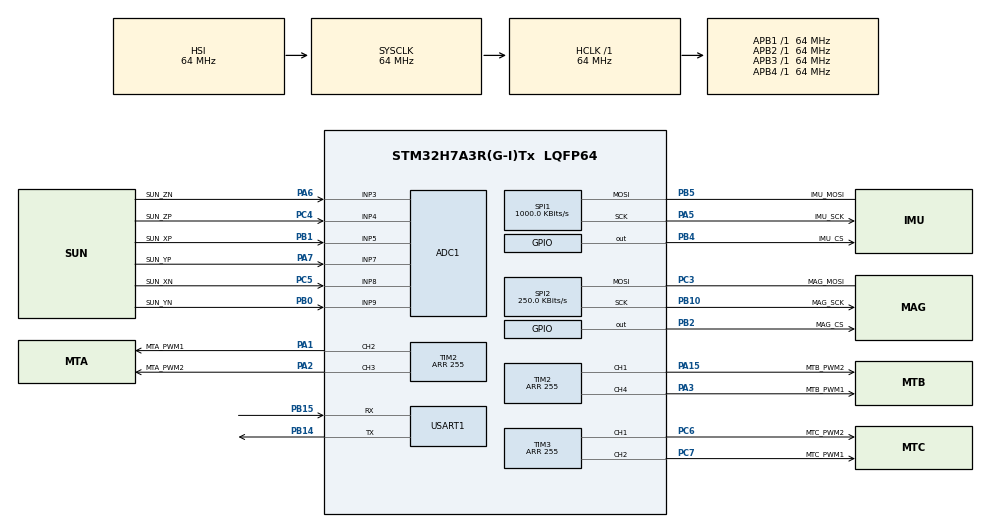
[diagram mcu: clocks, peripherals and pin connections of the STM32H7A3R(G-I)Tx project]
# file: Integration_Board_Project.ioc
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ADC1.Channel-2\#ChannelRegularConversion=ADC_CHANNEL_3
ADC1.Channel-3\#ChannelRegularConversion=ADC_CHANNEL_4
ADC1.Channel-4\#ChannelRegularConversion=ADC_CHANNEL_5
ADC1.Channel-5\#ChannelRegularConversion=ADC_CHANNEL_7
ADC1.Channel-6\#ChannelRegularConversion=ADC_CHANNEL_8
ADC1.Channel-7\#ChannelRegularConversion=ADC_CHANNEL_9
ADC1.ClockPrescaler=ADC_CLOCK_ASYNC_DIV1
ADC1.ContinuousConvMode=ENABLE
ADC1.ConversionDataManagement=ADC_CONVERSIONDATA_DMA_ONESHOT
ADC1.EOCSelection=ADC_EOC_SINGLE_CONV
ADC1.EnableRegularConversion=ENABLE
ADC1.NbrOfConversion=6
ADC1.NbrOfConversionFlag=1
ADC1.OffsetNumber-2\#ChannelRegularConversion=ADC_OFFSET_NONE
ADC1.OffsetNumber-3\#ChannelRegularConversion=ADC_OFFSET_NONE
ADC1.OffsetNumber-4\#ChannelRegularConversion=ADC_OFFSET_NONE
ADC1.OffsetNumber-5\#ChannelRegularConversion=ADC_OFFSET_NONE
ADC1.OffsetNumber-6\#ChannelRegularConversion=ADC_OFFSET_NONE
ADC1.OffsetNumber-7\#ChannelRegularConversion=ADC_OFFSET_NONE
ADC1.OffsetSignedSaturation-2\#ChannelRegularConversion=DISABLE
ADC1.OffsetSignedSaturation-3\#ChannelRegularConversion=DISABLE
ADC1.OffsetSignedSaturation-4\#ChannelRegularConversion=DISABLE
ADC1.OffsetSignedSaturation-5\#ChannelRegularConversion=DISABLE
ADC1.OffsetSignedSaturation-6\#ChannelRegularConversion=DISABLE
ADC1.OffsetSignedSaturation-7\#ChannelRegularConversion=DISABLE
ADC1.Rank-2\#ChannelRegularConversion=1
ADC1.Rank-3\#ChannelRegularConversion=2
ADC1.Rank-4\#ChannelRegularConversion=3
ADC1.Rank-5\#ChannelRegularConversion=4
ADC1.Rank-6\#ChannelRegularConversion=5
ADC1.Rank-7\#ChannelRegularConversion=6
ADC1.SamplingTime-2\#ChannelRegularConversion=ADC_SAMPLETIME_1CYCLE_5
ADC1.SamplingTime-3\#ChannelRegularConversion=ADC_SAMPLETIME_1CYCLE_5
ADC1.SamplingTime-4\#ChannelRegularConversion=ADC_SAMPLETIME_1CYCLE_5
ADC1.SamplingTime-5\#ChannelRegularConversion=ADC_SAMPLETIME_1CYCLE_5
ADC1.SamplingTime-6\#ChannelRegularConversion=ADC_SAMPLETIME_1CYCLE_5
ADC1.SamplingTime-7\#ChannelRegularConversion=ADC_SAMPLETIME_1CYCLE_5
ADC1.master=1
CORTEX_M7.default_mode_Activation=1
Dma.ADC1.0.Direction=DMA_PERIPH_TO_MEMORY
Dma.ADC1.0.EventEnable=DISABLE
Dma.ADC1.0.FIFOMode=DMA_FIFOMODE_DISABLE
Dma.ADC1.0.Instance=DMA1_Stream0
Dma.ADC1.0.MemDataAlignment=DMA_MDATAALIGN_HALFWORD
Dma.ADC1.0.MemInc=DMA_MINC_ENABLE
Dma.ADC1.0.Mode=DMA_CIRCULAR
Dma.ADC1.0.PeriphDataAlignment=DMA_PDATAALIGN_HALFWORD
Dma.ADC1.0.PeriphInc=DMA_PINC_DISABLE
Dma.ADC1.0.Polarity=HAL_DMAMUX_REQ_GEN_RISING
Dma.ADC1.0.Priority=DMA_PRIORITY_LOW
Dma.ADC1.0.RequestNumber=1
Dma.ADC1.0.SignalID=NONE
Dma.ADC1.0.SyncEnable=DISABLE
Dma.ADC1.0.SyncPolarity=HAL_DMAMUX_SYNC_NO_EVENT
Dma.ADC1.0.SyncRequestNumber=1
Dma.ADC1.0.SyncSignalID=NONE
Dma.Request0=ADC1
Mcu.Family=STM32H7
Mcu.Name=STM32H7A3R(G-I)Tx
Mcu.Package=LQFP64
NVIC.ADC_IRQn=true\:1\:0\:true\:false\:true\:true\:true\:true
NVIC.DMA1_Stream0_IRQn=true\:0\:0\:false\:false\:true\:false\:true\:true
NVIC.PriorityGroup=NVIC_PRIORITYGROUP_4
PA1.GPIO_Label=MTA_PWM1
PA1.Signal=S_TIM2_CH2
PA15.GPIO_Label=MTB_PWM2
PA15.Signal=S_TIM2_CH1_ETR
PA2.GPIO_Label=MTA_PWM2
PA2.Signal=S_TIM2_CH3
PA3.GPIO_Label=MTB_PWM1
PA3.Signal=S_TIM2_CH4
PA5.GPIO_Label=IMU_SCK
PA5.Mode=Simplex_Bidirectional_Master
PA5.Signal=SPI1_SCK
PA6.GPIO_Label=SUN_ZN
PA6.Signal=ADCx_INP3
PA7.GPIO_Label=SUN_YP
PA7.Signal=ADCx_INP7
PB0.GPIO_Label=SUN_YN
PB0.Signal=ADCx_INP9
PB1.GPIO_Label=SUN_XP
PB1.Signal=ADCx_INP5
PB10.GPIO_Label=MAG_SCK
PB10.Mode=Simplex_Bidirectional_Master
PB10.Signal=SPI2_SCK
PB14.Mode=Asynchronous
PB14.Signal=USART1_TX
PB15.Mode=Asynchronous
PB15.Signal=USART1_RX
PB2.GPIO_Label=MAG_CS
PB2.Signal=GPIO_Output
PB4.GPIO_Label=IMU_CS
PB4.PinState=GPIO_PIN_SET
PB4.Signal=GPIO_Output
PB5.GPIO_Label=IMU_MOSI
PB5.Mode=Simplex_Bidirectional_Master
PB5.Signal=SPI1_MOSI
PC3.GPIO_Label=MAG_MOSI
PC3.Mode=Simplex_Bidirectional_Master
PC3.Signal=SPI2_MOSI
PC4.GPIO_Label=SUN_ZP
PC4.Signal=ADCx_INP4
PC5.GPIO_Label=SUN_XN
PC5.Signal=ADCx_INP8
PC6.GPIO_Label=MTC_PWM2
PC6.Signal=S_TIM3_CH1
PC7.GPIO_Label=MTC_PWM1
PC7.Signal=S_TIM3_CH2
ProjectManager.HeapSize=0x200
ProjectManager.StackSize=0x400
ProjectManager.TargetToolchain=STM32CubeIDE
RCC.ADCFreq_Value=42666666.666666664
RCC.APB1Freq_Value=64000000
RCC.APB2Freq_Value=64000000
RCC.APB3Freq_Value=64000000
RCC.APB4Freq_Value=64000000
RCC.CortexFreq_Value=64000000
RCC.DIVM1=4
RCC.DIVM2=4
RCC.DIVN1=8
RCC.DIVN2=8
RCC.DIVP2=3
RCC.HCLKFreq_Value=64000000
RCC.PLL2FRACN=0
RCC.PLLFRACN=0
RCC.SYSCLKFreq_VALUE=64000000
RCC.USBFreq_Value=64000000
SH.ADCx_INP3.0=ADC1_INP3,IN3-Single-Ended
SH.ADCx_INP4.0=ADC1_INP4,IN4-Single-Ended
SH.ADCx_INP5.0=ADC1_INP5,IN5-Single-Ended
SH.ADCx_INP7.0=ADC1_INP7,IN7-Single-Ended
SH.ADCx_INP8.0=ADC1_INP8,IN8-Single-Ended
SH.ADCx_INP9.0=ADC1_INP9,IN9-Single-Ended
SH.S_TIM2_CH1_ETR.0=TIM2_CH1,PWM Generation1 CH1
SH.S_TIM2_CH2.0=TIM2_CH2,PWM Generation2 CH2
SH.S_TIM2_CH3.0=TIM2_CH3,PWM Generation3 CH3
SH.S_TIM2_CH4.0=TIM2_CH4,PWM Generation4 CH4
SH.S_TIM3_CH1.0=TIM3_CH1,PWM Generation1 CH1
SH.S_TIM3_CH2.0=TIM3_CH2,PWM Generation2 CH2
SPI1.BaudRatePrescaler=SPI_BAUDRATEPRESCALER_64
SPI1.CLKPhase=SPI_PHASE_1EDGE
SPI1.CLKPolarity=SPI_POLARITY_LOW
SPI1.CalculateBaudRate=1000.0 KBits/s
SPI1.DataSize=SPI_DATASIZE_8BIT
SPI1.Direction=SPI_DIRECTION_1LINE
SPI1.Mode=SPI_MODE_MASTER
SPI1.NSSPMode=SPI_NSS_PULSE_DISABLE
SPI1.VirtualType=VM_MASTER
SPI2.BaudRatePrescaler=SPI_BAUDRATEPRESCALER_256
SPI2.CalculateBaudRate=250.0 KBits/s
SPI2.DataSize=SPI_DATASIZE_8BIT
SPI2.Direction=SPI_DIRECTION_1LINE
SPI2.Mode=SPI_MODE_MASTER
SPI2.NSSPMode=SPI_NSS_PULSE_DISABLE
SPI2.VirtualType=VM_MASTER
TIM2.AutoReloadPreload=TIM_AUTORELOAD_PRELOAD_ENABLE
TIM2.Channel-PWM\ Generation1\ CH1=TIM_CHANNEL_1
TIM2.Channel-PWM\ Generation2\ CH2=TIM_CHANNEL_2
TIM2.Channel-PWM\ Generation3\ CH3=TIM_CHANNEL_3
TIM2.Channel-PWM\ Generation4\ CH4=TIM_CHANNEL_4
TIM2.Period=255
TIM3.AutoReloadPreload=TIM_AUTORELOAD_PRELOAD_ENABLE
TIM3.Channel-PWM\ Generation1\ CH1=TIM_CHANNEL_1
TIM3.Channel-PWM\ Generation2\ CH2=TIM_CHANNEL_2
TIM3.Period=255
USART1.VirtualMode-Asynchronous=VM_ASYNC
VP_MEMORYMAP_VS_MEMORYMAP.Mode=CurAppReg
VP_TIM2_VS_ClockSourceINT.Mode=Internal
board=custom

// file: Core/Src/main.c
/* USER CODE BEGIN Header */
/**
  ******************************************************************************
  * @file           : main.c
  * @brief          : Main program body
  ******************************************************************************
  * @attention
  *
  * Copyright (c) 2026 STMicroelectronics.
  * All rights reserved.
  *
  * This software is licensed under terms that can be found in the LICENSE file
  * in the root directory of this software component.
  * If no LICENSE file comes with this software, it is provided AS-IS.
  *
  ******************************************************************************
  */
/* USER CODE END Header */
#include "main.h"

/* USER CODE BEGIN Includes */
#include "lsm6dso_reg.h"
#include "iis2mdc_reg.h"
#include "sensor_filtering_algs.h" //temporary, just for testing
#include <stdio.h>
#include <string.h>
#include <math.h>
/* USER CODE END Includes */

ADC_HandleTypeDef hadc1;
DMA_HandleTypeDef hdma_adc1;

SPI_HandleTypeDef hspi1;
SPI_HandleTypeDef hspi2;

TIM_HandleTypeDef htim2;
TIM_HandleTypeDef htim3;

UART_HandleTypeDef huart1;

void SystemClock_Config(void);
static void MPU_Config(void);
static void MX_GPIO_Init(void);
static void MX_DMA_Init(void);
static void MX_SPI1_Init(void);
static void MX_USART1_UART_Init(void);
static void MX_SPI2_Init(void);
static void MX_TIM2_Init(void);
static void MX_TIM3_Init(void);
static void MX_ADC1_Init(void);

/* USER CODE BEGIN 0 */

stmdev_ctx_t lsm6dso_ctx;
stmdev_ctx_t iis2mdc_ctx;

/* COMMUNICATION FUNCTIONS */
/* Functions should not handle failed write operation itself (i.e. loop until success), this should be responsibility of calling function */
/* All possible return values of functions correspond to COMMUNICATION_... macros defined in main.h */

// LSM6DSO SPI1, CS = PB4
int32_t lsm6dso_write(void *handle, uint8_t reg,
                      const uint8_t *bufp, uint16_t len)
{
    reg &= 0x7F;
    HAL_GPIO_WritePin(GPIOB, GPIO_PIN_4, GPIO_PIN_RESET); // CS Low

    /* write register address to peripheral */
    int32_t write_status = HAL_SPI_Transmit(&hspi1, &reg, 1, 100);

    /* only attempt to write data to peripheral if register write was successful */
    if (write_status == COMMUNICATION_SUCCESS) {
        write_status = HAL_SPI_Transmit(&hspi1, (uint8_t*)bufp, len, 100);
    }

    HAL_GPIO_WritePin(GPIOB, GPIO_PIN_4, GPIO_PIN_SET); // CS High
    return write_status;

}

int32_t lsm6dso_read(void *handle, uint8_t reg,
                     uint8_t *bufp, uint16_t len)
{
	  reg |= 0x80;
	  HAL_GPIO_WritePin(GPIOB, GPIO_PIN_4, GPIO_PIN_RESET); //CS Low

    /* write register address to peripheral */
	  int32_t comm_status = HAL_SPI_Transmit(&hspi1, &reg, 1, 1000);

    /* only attempt to read data from peripheral if register write was successful */
    if (comm_status == COMMUNICATION_SUCCESS) {
        comm_status = HAL_SPI_Receive(&hspi1, bufp, len, 1000);
    }

	  HAL_GPIO_WritePin(GPIOB, GPIO_PIN_4, GPIO_PIN_SET);
    return comm_status;
}

// IIS2MDC SPI2, CS = PB2
int32_t mag_platform_write(void *handle, uint8_t reg,
                           const uint8_t *bufp, uint16_t len)
{
    reg &= 0x7F;
    HAL_GPIO_WritePin(GPIOB, GPIO_PIN_2, GPIO_PIN_RESET);

    /* write the register address to peripheral device */
    int32_t write_status = HAL_SPI_Transmit(&hspi2, &reg, 1, HAL_MAX_DELAY);

    /* only attempt to write data to peripheral if register write was successful */
    if (write_status == COMMUNICATION_SUCCESS) {
        write_status = HAL_SPI_Transmit(&hspi2, (uint8_t *)bufp, len, HAL_MAX_DELAY);
    }

    HAL_GPIO_WritePin(GPIOB, GPIO_PIN_2, GPIO_PIN_SET);
    return write_status;
}

int32_t mag_platform_read(void *handle, uint8_t reg,
                          uint8_t *bufp, uint16_t len)
{
    reg |= 0x80;
    HAL_GPIO_WritePin(GPIOB, GPIO_PIN_2, GPIO_PIN_RESET);

    /* write address of register to peripheral device */
    int32_t comm_status = HAL_SPI_Transmit(&hspi2, &reg, 1, HAL_MAX_DELAY);

    /* only attempt to read data from peripheral device if register write to device was successful */
    if (comm_status == COMMUNICATION_SUCCESS) {
        comm_status = HAL_SPI_Receive(&hspi2, bufp, len, HAL_MAX_DELAY);
    }

    HAL_GPIO_WritePin(GPIOB, GPIO_PIN_2, GPIO_PIN_SET);
    return comm_status;
}

/* Conversion helper */
float raw_accel_to_mss(int16_t raw)
{
    return (float)raw * 0.00059f; //conversion found in data sheet says 0.00061 but it overshoots...
}

float raw_gyro_to_degreespersecond(int16_t raw){
	return raw * 0.00875f; //value from data sheet -- angular rate sensitivity type
}

// interrupt handler to ensure smooth ADC readings
uint16_t sun[6];
int ADC_Finished = 0;
void HAL_ADC_ConvCpltCallback(ADC_HandleTypeDef *hadc)
{
	ADC_Finished = 1;
}

//initiate variables for sun sensors
int maxIntensity[6]; // Maximum sensor values
int minIntensity[6]; // Minimum sensor values
void resetCalibration() {
    for (int i = 0; i < 6; i++) {
        maxIntensity[i] = 0;
        minIntensity[i] = 65535; // 12-bit ADC range
    }
    char SUN_Calibration[] = "Calibration Of ADC Sun Sensors";
    HAL_UART_Transmit(&huart1, (uint8_t*) SUN_Calibration, strlen(SUN_Calibration) ,100);
}

/* USER CODE END 0 */

int main(void)
{

  /* MPU Configuration--------------------------------------------------------*/
  MPU_Config();

  /* MCU Configuration--------------------------------------------------------*/

  /* Reset of all peripherals, Initializes the Flash interface and the Systick. */
  HAL_Init();

  /* Configure the system clock */
  SystemClock_Config();

  /* Initialize all configured peripherals */
  MX_GPIO_Init();
  MX_DMA_Init();
  MX_SPI1_Init();
  MX_USART1_UART_Init();
  MX_SPI2_Init();
  MX_TIM2_Init();
  MX_TIM3_Init();
  MX_ADC1_Init();
  /* USER CODE BEGIN 2 */
  // LSM6DSO initialize
  lsm6dso_ctx.write_reg = lsm6dso_write;
  lsm6dso_ctx.read_reg  = lsm6dso_read;
  lsm6dso_ctx.handle    = &hspi1;

  // IIS2MDC initialize
  iis2mdc_ctx.write_reg = mag_platform_write;
  iis2mdc_ctx.read_reg  = mag_platform_read;
  iis2mdc_ctx.handle    = &hspi2;

  /* -------- LSM6DSO INIT -------- */

  lsm6dso_spi_mode_set(&lsm6dso_ctx,LSM6DSO_SPI_3_WIRE); //using the stm32 lsm6dso library and should use this to work with 3 wire mode
  lsm6dso_auto_increment_set(&lsm6dso_ctx, 1);
  lsm6dso_xl_data_rate_set(&lsm6dso_ctx, LSM6DSO_XL_ODR_833Hz );
  lsm6dso_block_data_update_set(&lsm6dso_ctx, 1);
  lsm6dso_gy_full_scale_set(&lsm6dso_ctx, LSM6DSO_250dps);
  lsm6dso_gy_data_rate_set(&lsm6dso_ctx, LSM6DSO_GY_ODR_833Hz);

  /* -----iis2mdc INIT ----- */
  iis2mdc_data_rate_set(&iis2mdc_ctx, IIS2MDC_ODR_100Hz);
  iis2mdc_block_data_update_set(&iis2mdc_ctx, 1);

  //WHOAMI
  uint8_t VALUE = 0;
  lsm6dso_read(NULL, 0x0F, &VALUE, 1);

  //testing to check if i can comm with the imu
  char string[32];
  sprintf(string, "LSM6DOWHO_AM_I = 0x%02X \r\n", VALUE);
  HAL_UART_Transmit(&huart1, (uint8_t *)string, strlen(string), HAL_MAX_DELAY);

  uint8_t whoami = 0;
  iis2mdc_device_id_get(&iis2mdc_ctx, &whoami);

  char msg[32];
  sprintf(msg, "IIS2MDC WHO_AM_I = 0x%02X\r\n", whoami);
  HAL_UART_Transmit(&huart1, (uint8_t*)msg, strlen(msg), HAL_MAX_DELAY);

  /* Variables */
  int16_t raw_accel[3];
  float accel_mss[3];
  char accel_data[64];

  int16_t raw_gyro[3];
 // volatile char gyro_data[64]; // used for printing the raw gyro data - redundant
  float gyro_intermediate[3];
  float G_X_roll= 0.0f;
  float G_Y_pitch = 0.0f;
  float G_Z_yaw= 0.0f;
  char Gyro_accum[64];
  char OFFSET[64];

  int16_t raw_mag[3];
  char mag_data[64];

  float dt = 0.0f;

  /* testing Sun sensors */

  HAL_ADC_Start_DMA(&hadc1, (uint32_t*)sun, 6);
  int16_t Z_Minus;
  int16_t Z_Plus;
  int16_t X_Plus;
  int16_t Y_Plus;
  int16_t X_Minus;
  int16_t Y_Minus;

  char SUN_DATA[100];

// testing the pwm channels are working for all the magnetometers
	HAL_TIM_PWM_Start(&htim2, TIM_CHANNEL_1);
	__HAL_TIM_SET_COMPARE(&htim2, TIM_CHANNEL_1, 0); // ~50% of 255
	HAL_TIM_PWM_Start(&htim2, TIM_CHANNEL_4);
	__HAL_TIM_SET_COMPARE(&htim2, TIM_CHANNEL_4, 123); // ~50% of 255
	HAL_TIM_PWM_Start(&htim2, TIM_CHANNEL_2);
	__HAL_TIM_SET_COMPARE(&htim2, TIM_CHANNEL_2, 123);
	HAL_TIM_PWM_Start(&htim2, TIM_CHANNEL_3);
	__HAL_TIM_SET_COMPARE(&htim2, TIM_CHANNEL_3, 123);
	HAL_TIM_PWM_Start(&htim3, TIM_CHANNEL_1);
	__HAL_TIM_SET_COMPARE(&htim3, TIM_CHANNEL_1, 123);
	HAL_TIM_PWM_Start(&htim3, TIM_CHANNEL_2);
	__HAL_TIM_SET_COMPARE(&htim3, TIM_CHANNEL_2, 123);

  //gyro bias reduction
	/*
  lsm6dso_angular_rate_raw_get(&lsm6dso_ctx, raw_gyro);
  gyro_intermediate[0]= raw_gyro_to_degreespersecond(raw_gyro[0]);
  gyro_intermediate[1]= -raw_gyro_to_degreespersecond(raw_gyro[1]);
  gyro_intermediate[2]= raw_gyro_to_degreespersecond(raw_gyro[2]);
  float sumx = 0.0f, sumy = 0.0f, sumz = 0.0f;
  char waiting[] = "Calibrating offset values";
  HAL_UART_Transmit(&huart1, (uint8_t*) waiting, strlen(waiting) ,100);
  int n = 1; //number of calibration trials
  for (int i = 0; i < n; i++){
  	sumx += gyro_intermediate[0];
  	sumy += gyro_intermediate[1];
  	sumz += gyro_intermediate[2];
  	HAL_Delay (3);
  }
  */

//  float offset_x = sumx/(n-1);
//  float offset_y = sumy/(n-1);
//  float offset_z = sumz/(n-1);
//	sprintf(OFFSET, "OFFSET X=%.5f Y=%.5f Z=%.5f \r\n",offset_x, offset_y, offset_z);
//	HAL_UART_Transmit(&huart1, (uint8_t *)OFFSET, strlen(OFFSET), HAL_MAX_DELAY);
//	HAL_Delay(2000);

  //init sensor filter algs by calculating process noise for each sensor
  //calculate_sensor_process_noise();

  uint32_t last_tick = HAL_GetTick();
  /* USER CODE END 2 */

  /* Infinite loop */
  while (1)
  {

    /* USER CODE BEGIN 3 */
	  HAL_Delay(500);

	  //code to display raw data from sensors in the form of 2^16- 1
//	  if (ADC_Finished == 1){
//		  ADC_Finished = 0;
//		  for(uint8_t i = 0; i<hadc1.Init.NbrOfConversion; i++){
//			  Z_Minus= sun[0];
//			  Z_Plus = sun[1];
//			  X_Plus = sun[2];
//			  Y_Plus = sun[3];
//			  X_Minus = sun[4];
//			  Y_Minus = sun[5];
//		  }
//		  sprintf(SUN_DATA, "-Z = %u , +Z = %u, -X = %u, +X = %u, -Y = %u, +Y = %u \r\n", Z_Minus, Z_Plus, X_Minus, X_Plus, Y_Minus, Y_Plus);
//		  HAL_UART_Transmit(&huart1, (uint8_t*)SUN_DATA, strlen(SUN_DATA), HAL_MAX_DELAY);
//		  HAL_ADC_Start_DMA(&hadc1, (uint32_t*)sun, 6);
//	  }

//	  uint16_t SUN_Zp = sun[0]; //this block can be deleted
//	  uint16_t SUN_Xm = sun[1];
//	  sprintf(sun_outputs, "Z Positive: %u, X Negative: %u \r\n ", SUN_Zp, SUN_Xm);
//	  HAL_UART_Transmit(&huart1,(uint8_t*)sun_outputs, strlen(sun_outputs), HAL_MAX_DELAY);
//	  HAL_Delay(500);

//	  HAL_ADC_Start(&hadc1); //this block can be deleted
//	  HAL_ADC_PollForConversion(&hadc1, 100);
//	  sun_Zp = HAL_ADC_GetValue(&hadc1);
//	  sprintf(sun_output, "Sun: %u \r\n ", sun_Zp);
//	  HAL_UART_Transmit(&huart1, (uint8_t*)sun_output, strlen(sun_output), HAL_MAX_DELAY);
//	  HAL_Delay(500);

//  	//getting dt from integrating gyro
//  	uint32_t now = HAL_GetTick();
//  	float dt = (now - last_tick	) / 1000.0f;
//  	last_tick = now;
//
	  	//accelerometer
	  	lsm6dso_acceleration_raw_get(&lsm6dso_ctx, raw_accel);
	  	char rawAccel[100];
	  	char filterAccel[100];
	  	sprintf(rawAccel, "RawAccel: x: %i y: %i z: %i.", raw_accel[0], raw_accel[1], raw_accel[2]);
	  	filter_sensor_data(raw_accel, ACCELEROMETER);
	  	sprintf(filterAccel, "\tFilteredAccel: x: %i y: %i z: %i.\r\n", raw_accel[0], raw_accel[1], raw_accel[2]);

	  	HAL_UART_Transmit(&huart1, (int8_t*) rawAccel, strlen(rawAccel), 100);
	  	HAL_UART_Transmit(&huart1, (int8_t*) filterAccel, strlen(filterAccel), 100);

	  	//print raw values for accelerometer
	  	//snprintf(accel_data, sizeof(accel_data), "RawAccel: x: %i\ty: %i\tz: %i.", raw_accel[1], raw_accel[0], raw_accel[2]);
	  	//filter raw data
	  	//filter_sensor_data(raw_accel, Sensor_Type.ACCELEROMETER);
	  	//print filtered values for accelerometer
	  	//snprintf(accel_data, sizeof(accel_data), "\tFilteredAccel: x: %i\ty: %i\tz: %i.\r\n", raw_accel[1], raw_accel[0], raw_accel[2]);
//
//      accel_mss[0] = raw_accel_to_mss(raw_accel[0]);
//      accel_mss[1] = raw_accel_to_mss(raw_accel[1]);
//      accel_mss[2] = raw_accel_to_mss(raw_accel[2]);
//
//      snprintf(accel_data, sizeof(accel_data), "Accel X=%.2f Y=%.2f Z=%.2f\r\n", accel_mss[1], -accel_mss[0], accel_mss[2]);
//      HAL_UART_Transmit(&huart1, (uint8_t *)accel_data, strlen(accel_data), HAL_MAX_DELAY);
//
//      //gyro
	  	lsm6dso_angular_rate_raw_get(&lsm6dso_ctx, raw_gyro);
	  	char rawGyro[100];
	  	char filterGyro[100];
	  	sprintf(rawGyro, "RawGyro: x: %i y: %i z: %i.", raw_gyro[0], raw_gyro[1], raw_gyro[2]);
	  	filter_sensor_data(raw_gyro, GYROSCOPE);
	  	sprintf(filterGyro, "\tFilteredGyro: x: %i y: %i z: %i.\r\n", raw_gyro[0], raw_gyro[1], raw_gyro[2]);

	  	HAL_UART_Transmit(&huart1, (int8_t*) rawGyro, strlen(rawGyro), 100);
	  	HAL_UART_Transmit(&huart1, (int8_t*) filterGyro, strlen(filterGyro), 100);

	  	//snprintf(raw_gyro, sizeof(raw_gyro), "RawGyro: x: %i\ty: %i\tz: %i.", raw_gyro[0], raw_gyro[1], raw_gyro[2]);
	  	//filter raw gyro data
	  	//filter_sensor_data(raw_gyro, Sensor_Type.GYROSCOPE);
	  	//print filtered gyro values
	  	//snprintf(gyro_data, sizeof(gyro_data), "\tFilteredGyro: x: %i\ty: %i\tz: %i.\r\n", raw_gyro[0], raw_gyro[1], raw_gyro[2]);

//
//      gyro_intermediate[0]= raw_gyro_to_degreespersecond(raw_gyro[0]) -offset_x ;
//      gyro_intermediate[1]= -raw_gyro_to_degreespersecond(raw_gyro[1]) - offset_y ;
//      gyro_intermediate[2]= raw_gyro_to_degreespersecond(raw_gyro[2]) - offset_z;
////        snprintf(gyro_data, sizeof(gyro_data), "GYRO X=%.2f Y=%.2f Z=%.2f \r\n", gyro_intermediate[0], gyro_intermediate[1], gyro_intermediate[2]);
////        HAL_UART_Transmit(&huart1, (uint8_t *)gyro_data, strlen(gyro_data), HAL_MAX_DELAY);
//      G_X_roll += (gyro_intermediate[0]) * dt;
//      G_Y_pitch += (gyro_intermediate[1] )* dt ;
//      G_Z_yaw += (gyro_intermediate[2]) * dt ;
//
//      sprintf(Gyro_accum, "GYRO roll=%.2f pitch=%.2f yaw=%.2f \r\n",G_X_roll, G_Y_pitch, G_Z_yaw);
//      HAL_UART_Transmit(&huart1, (uint8_t *)Gyro_accum, strlen(Gyro_accum), HAL_MAX_DELAY);
//
//
//     // loop for magnetometer data
        iis2mdc_magnetic_raw_get(&iis2mdc_ctx, raw_mag);
	  	char rawMag[100];
	  	char filterMag[100];
	  	sprintf(rawMag, "RawMag: x: %i y: %i z: %i.", raw_mag[0], raw_mag[1], raw_mag[2]);
	  	filter_sensor_data(raw_mag, MAGNETOMETER);
	  	sprintf(filterMag, "\tFilteredMag: x: %i y: %i z: %i.\r\n", raw_mag[0], raw_mag[1], raw_mag[2]);

	  	HAL_UART_Transmit(&huart1, (int8_t*) rawMag, strlen(rawMag), 100);
	  	HAL_UART_Transmit(&huart1, (int8_t*) filterMag, strlen(filterMag), 100);

        //sprintf(mag_data, "RawMag: x: %i\ty: %i\tz: %i.", raw_mag[0], raw_mag[1], raw_mag[2]);
        //filter_sensor_data(raw_mag, Sensor_Type.MAGNETOMETER);
        //sprintf(mag_data, "\tFilterMag: x: %i\ty: %i\tz: %i.\r\n", raw_mag[0], raw_mag[1], raw_mag[2]);
//      HAL_UART_Transmit(&huart1, (uint8_t*)mag_data, strlen(mag_data), HAL_MAX_DELAY);
	  	//HAL_Delay(1);
  }
  /* USER CODE END 3 */
}

void SystemClock_Config(void)
{
  RCC_OscInitTypeDef RCC_OscInitStruct = {0};
  RCC_ClkInitTypeDef RCC_ClkInitStruct = {0};

  /*AXI clock gating */
  RCC->CKGAENR = 0xE003FFFF;

  /** Supply configuration update enable
  */
  HAL_PWREx_ConfigSupply(PWR_LDO_SUPPLY);

  /** Configure the main internal regulator output voltage
  */
  __HAL_PWR_VOLTAGESCALING_CONFIG(PWR_REGULATOR_VOLTAGE_SCALE3);

  while(!__HAL_PWR_GET_FLAG(PWR_FLAG_VOSRDY)) {}

  /** Initializes the RCC Oscillators according to the specified parameters
  * in the RCC_OscInitTypeDef structure.
  */
  RCC_OscInitStruct.OscillatorType = RCC_OSCILLATORTYPE_HSI;
  RCC_OscInitStruct.HSIState = RCC_HSI_DIV1;
  RCC_OscInitStruct.HSICalibrationValue = 64;
  RCC_OscInitStruct.PLL.PLLState = RCC_PLL_ON;
  RCC_OscInitStruct.PLL.PLLSource = RCC_PLLSOURCE_HSI;
  RCC_OscInitStruct.PLL.PLLM = 4;
  RCC_OscInitStruct.PLL.PLLN = 8;
  RCC_OscInitStruct.PLL.PLLP = 2;
  RCC_OscInitStruct.PLL.PLLQ = 2;
  RCC_OscInitStruct.PLL.PLLR = 2;
  RCC_OscInitStruct.PLL.PLLRGE = RCC_PLL1VCIRANGE_3;
  RCC_OscInitStruct.PLL.PLLVCOSEL = RCC_PLL1VCOWIDE;
  RCC_OscInitStruct.PLL.PLLFRACN = 0;
  if (HAL_RCC_OscConfig(&RCC_OscInitStruct) != HAL_OK)
  {
    Error_Handler();
  }

  /** Initializes the CPU, AHB and APB buses clocks
  */
  RCC_ClkInitStruct.ClockType = RCC_CLOCKTYPE_HCLK|RCC_CLOCKTYPE_SYSCLK
                              |RCC_CLOCKTYPE_PCLK1|RCC_CLOCKTYPE_PCLK2
                              |RCC_CLOCKTYPE_D3PCLK1|RCC_CLOCKTYPE_D1PCLK1;
  RCC_ClkInitStruct.SYSCLKSource = RCC_SYSCLKSOURCE_HSI;
  RCC_ClkInitStruct.SYSCLKDivider = RCC_SYSCLK_DIV1;
  RCC_ClkInitStruct.AHBCLKDivider = RCC_HCLK_DIV1;
  RCC_ClkInitStruct.APB3CLKDivider = RCC_APB3_DIV1;
  RCC_ClkInitStruct.APB1CLKDivider = RCC_APB1_DIV1;
  RCC_ClkInitStruct.APB2CLKDivider = RCC_APB2_DIV1;
  RCC_ClkInitStruct.APB4CLKDivider = RCC_APB4_DIV1;

  if (HAL_RCC_ClockConfig(&RCC_ClkInitStruct, FLASH_LATENCY_2) != HAL_OK)
  {
    Error_Handler();
  }
}

static void MX_ADC1_Init(void)
{

  ADC_MultiModeTypeDef multimode = {0};
  ADC_ChannelConfTypeDef sConfig = {0};

  /** Common config
  */
  hadc1.Instance = ADC1;
  hadc1.Init.ClockPrescaler = ADC_CLOCK_ASYNC_DIV1;
  hadc1.Init.Resolution = ADC_RESOLUTION_16B;
  hadc1.Init.ScanConvMode = ADC_SCAN_ENABLE;
  hadc1.Init.EOCSelection = ADC_EOC_SINGLE_CONV;
  hadc1.Init.LowPowerAutoWait = DISABLE;
  hadc1.Init.ContinuousConvMode = ENABLE;
  hadc1.Init.NbrOfConversion = 6;
  hadc1.Init.DiscontinuousConvMode = DISABLE;
  hadc1.Init.ExternalTrigConv = ADC_SOFTWARE_START;
  hadc1.Init.ExternalTrigConvEdge = ADC_EXTERNALTRIGCONVEDGE_NONE;
  hadc1.Init.ConversionDataManagement = ADC_CONVERSIONDATA_DMA_ONESHOT;
  hadc1.Init.Overrun = ADC_OVR_DATA_PRESERVED;
  hadc1.Init.LeftBitShift = ADC_LEFTBITSHIFT_NONE;
  hadc1.Init.OversamplingMode = DISABLE;
  if (HAL_ADC_Init(&hadc1) != HAL_OK)
  {
    Error_Handler();
  }

  /** Configure the ADC multi-mode
  */
  multimode.Mode = ADC_MODE_INDEPENDENT;
  if (HAL_ADCEx_MultiModeConfigChannel(&hadc1, &multimode) != HAL_OK)
  {
    Error_Handler();
  }

  /** Configure Regular Channel
  */
  sConfig.Channel = ADC_CHANNEL_3;
  sConfig.Rank = ADC_REGULAR_RANK_1;
  sConfig.SamplingTime = ADC_SAMPLETIME_1CYCLE_5;
  sConfig.SingleDiff = ADC_SINGLE_ENDED;
  sConfig.OffsetNumber = ADC_OFFSET_NONE;
  sConfig.Offset = 0;
  sConfig.OffsetSignedSaturation = DISABLE;
  if (HAL_ADC_ConfigChannel(&hadc1, &sConfig) != HAL_OK)
  {
    Error_Handler();
  }

  /** Configure Regular Channel
  */
  sConfig.Channel = ADC_CHANNEL_4;
  sConfig.Rank = ADC_REGULAR_RANK_2;
  if (HAL_ADC_ConfigChannel(&hadc1, &sConfig) != HAL_OK)
  {
    Error_Handler();
  }

  /** Configure Regular Channel
  */
  sConfig.Channel = ADC_CHANNEL_5;
  sConfig.Rank = ADC_REGULAR_RANK_3;
  if (HAL_ADC_ConfigChannel(&hadc1, &sConfig) != HAL_OK)
  {
    Error_Handler();
  }

  /** Configure Regular Channel
  */
  sConfig.Channel = ADC_CHANNEL_7;
  sConfig.Rank = ADC_REGULAR_RANK_4;
  if (HAL_ADC_ConfigChannel(&hadc1, &sConfig) != HAL_OK)
  {
    Error_Handler();
  }

  /** Configure Regular Channel
  */
  sConfig.Channel = ADC_CHANNEL_8;
  sConfig.Rank = ADC_REGULAR_RANK_5;
  if (HAL_ADC_ConfigChannel(&hadc1, &sConfig) != HAL_OK)
  {
    Error_Handler();
  }

  /** Configure Regular Channel
  */
  sConfig.Channel = ADC_CHANNEL_9;
  sConfig.Rank = ADC_REGULAR_RANK_6;
  if (HAL_ADC_ConfigChannel(&hadc1, &sConfig) != HAL_OK)
  {
    Error_Handler();
  }

}

static void MX_SPI1_Init(void)
{

  /* SPI1 parameter configuration*/
  hspi1.Instance = SPI1;
  hspi1.Init.Mode = SPI_MODE_MASTER;
  hspi1.Init.Direction = SPI_DIRECTION_1LINE;
  hspi1.Init.DataSize = SPI_DATASIZE_8BIT;
  hspi1.Init.CLKPolarity = SPI_POLARITY_LOW;
  hspi1.Init.CLKPhase = SPI_PHASE_1EDGE;
  hspi1.Init.NSS = SPI_NSS_SOFT;
  hspi1.Init.BaudRatePrescaler = SPI_BAUDRATEPRESCALER_32;
  hspi1.Init.FirstBit = SPI_FIRSTBIT_MSB;
  hspi1.Init.TIMode = SPI_TIMODE_DISABLE;
  hspi1.Init.CRCCalculation = SPI_CRCCALCULATION_DISABLE;
  hspi1.Init.CRCPolynomial = 0x0;
  hspi1.Init.NSSPMode = SPI_NSS_PULSE_DISABLE;
  hspi1.Init.NSSPolarity = SPI_NSS_POLARITY_LOW;
  hspi1.Init.FifoThreshold = SPI_FIFO_THRESHOLD_01DATA;
  hspi1.Init.TxCRCInitializationPattern = SPI_CRC_INITIALIZATION_ALL_ZERO_PATTERN;
  hspi1.Init.RxCRCInitializationPattern = SPI_CRC_INITIALIZATION_ALL_ZERO_PATTERN;
  hspi1.Init.MasterSSIdleness = SPI_MASTER_SS_IDLENESS_00CYCLE;
  hspi1.Init.MasterInterDataIdleness = SPI_MASTER_INTERDATA_IDLENESS_00CYCLE;
  hspi1.Init.MasterReceiverAutoSusp = SPI_MASTER_RX_AUTOSUSP_DISABLE;
  hspi1.Init.MasterKeepIOState = SPI_MASTER_KEEP_IO_STATE_DISABLE;
  hspi1.Init.IOSwap = SPI_IO_SWAP_DISABLE;
  if (HAL_SPI_Init(&hspi1) != HAL_OK)
  {
    Error_Handler();
  }

}

static void MX_SPI2_Init(void)
{

  /* SPI2 parameter configuration*/
  hspi2.Instance = SPI2;
  hspi2.Init.Mode = SPI_MODE_MASTER;
  hspi2.Init.Direction = SPI_DIRECTION_1LINE;
  hspi2.Init.DataSize = SPI_DATASIZE_8BIT;
  hspi2.Init.CLKPolarity = SPI_POLARITY_LOW;
  hspi2.Init.CLKPhase = SPI_PHASE_1EDGE;
  hspi2.Init.NSS = SPI_NSS_SOFT;
  hspi2.Init.BaudRatePrescaler = SPI_BAUDRATEPRESCALER_128;
  hspi2.Init.FirstBit = SPI_FIRSTBIT_MSB;
  hspi2.Init.TIMode = SPI_TIMODE_DISABLE;
  hspi2.Init.CRCCalculation = SPI_CRCCALCULATION_DISABLE;
  hspi2.Init.CRCPolynomial = 0x0;
  hspi2.Init.NSSPMode = SPI_NSS_PULSE_DISABLE;
  hspi2.Init.NSSPolarity = SPI_NSS_POLARITY_LOW;
  hspi2.Init.FifoThreshold = SPI_FIFO_THRESHOLD_01DATA;
  hspi2.Init.TxCRCInitializationPattern = SPI_CRC_INITIALIZATION_ALL_ZERO_PATTERN;
  hspi2.Init.RxCRCInitializationPattern = SPI_CRC_INITIALIZATION_ALL_ZERO_PATTERN;
  hspi2.Init.MasterSSIdleness = SPI_MASTER_SS_IDLENESS_00CYCLE;
  hspi2.Init.MasterInterDataIdleness = SPI_MASTER_INTERDATA_IDLENESS_00CYCLE;
  hspi2.Init.MasterReceiverAutoSusp = SPI_MASTER_RX_AUTOSUSP_DISABLE;
  hspi2.Init.MasterKeepIOState = SPI_MASTER_KEEP_IO_STATE_DISABLE;
  hspi2.Init.IOSwap = SPI_IO_SWAP_DISABLE;
  if (HAL_SPI_Init(&hspi2) != HAL_OK)
  {
    Error_Handler();
  }

}

static void MX_TIM2_Init(void)
{

  TIM_ClockConfigTypeDef sClockSourceConfig = {0};
  TIM_MasterConfigTypeDef sMasterConfig = {0};
  TIM_OC_InitTypeDef sConfigOC = {0};

  htim2.Instance = TIM2;
  htim2.Init.Prescaler = 0;
  htim2.Init.CounterMode = TIM_COUNTERMODE_UP;
  htim2.Init.Period = 255;
  htim2.Init.ClockDivision = TIM_CLOCKDIVISION_DIV1;
  htim2.Init.AutoReloadPreload = TIM_AUTORELOAD_PRELOAD_ENABLE;
  if (HAL_TIM_Base_Init(&htim2) != HAL_OK)
  {
    Error_Handler();
  }
  sClockSourceConfig.ClockSource = TIM_CLOCKSOURCE_INTERNAL;
  if (HAL_TIM_ConfigClockSource(&htim2, &sClockSourceConfig) != HAL_OK)
  {
    Error_Handler();
  }
  if (HAL_TIM_PWM_Init(&htim2) != HAL_OK)
  {
    Error_Handler();
  }
  sMasterConfig.MasterOutputTrigger = TIM_TRGO_RESET;
  sMasterConfig.MasterSlaveMode = TIM_MASTERSLAVEMODE_DISABLE;
  if (HAL_TIMEx_MasterConfigSynchronization(&htim2, &sMasterConfig) != HAL_OK)
  {
    Error_Handler();
  }
  sConfigOC.OCMode = TIM_OCMODE_PWM1;
  sConfigOC.Pulse = 0;
  sConfigOC.OCPolarity = TIM_OCPOLARITY_HIGH;
  sConfigOC.OCFastMode = TIM_OCFAST_DISABLE;
  if (HAL_TIM_PWM_ConfigChannel(&htim2, &sConfigOC, TIM_CHANNEL_1) != HAL_OK)
  {
    Error_Handler();
  }
  if (HAL_TIM_PWM_ConfigChannel(&htim2, &sConfigOC, TIM_CHANNEL_2) != HAL_OK)
  {
    Error_Handler();
  }
  if (HAL_TIM_PWM_ConfigChannel(&htim2, &sConfigOC, TIM_CHANNEL_3) != HAL_OK)
  {
    Error_Handler();
  }
  if (HAL_TIM_PWM_ConfigChannel(&htim2, &sConfigOC, TIM_CHANNEL_4) != HAL_OK)
  {
    Error_Handler();
  }
  HAL_TIM_MspPostInit(&htim2);

}

static void MX_TIM3_Init(void)
{

  TIM_MasterConfigTypeDef sMasterConfig = {0};
  TIM_OC_InitTypeDef sConfigOC = {0};

  htim3.Instance = TIM3;
  htim3.Init.Prescaler = 0;
  htim3.Init.CounterMode = TIM_COUNTERMODE_UP;
  htim3.Init.Period = 255;
  htim3.Init.ClockDivision = TIM_CLOCKDIVISION_DIV1;
  htim3.Init.AutoReloadPreload = TIM_AUTORELOAD_PRELOAD_ENABLE;
  if (HAL_TIM_PWM_Init(&htim3) != HAL_OK)
  {
    Error_Handler();
  }
  sMasterConfig.MasterOutputTrigger = TIM_TRGO_RESET;
  sMasterConfig.MasterSlaveMode = TIM_MASTERSLAVEMODE_DISABLE;
  if (HAL_TIMEx_MasterConfigSynchronization(&htim3, &sMasterConfig) != HAL_OK)
  {
    Error_Handler();
  }
  sConfigOC.OCMode = TIM_OCMODE_PWM1;
  sConfigOC.Pulse = 0;
  sConfigOC.OCPolarity = TIM_OCPOLARITY_HIGH;
  sConfigOC.OCFastMode = TIM_OCFAST_DISABLE;
  if (HAL_TIM_PWM_ConfigChannel(&htim3, &sConfigOC, TIM_CHANNEL_1) != HAL_OK)
  {
    Error_Handler();
  }
  if (HAL_TIM_PWM_ConfigChannel(&htim3, &sConfigOC, TIM_CHANNEL_2) != HAL_OK)
  {
    Error_Handler();
  }
  HAL_TIM_MspPostInit(&htim3);

}

static void MX_USART1_UART_Init(void)
{

  huart1.Instance = USART1;
  huart1.Init.BaudRate = 115200;
  huart1.Init.WordLength = UART_WORDLENGTH_8B;
  huart1.Init.StopBits = UART_STOPBITS_1;
  huart1.Init.Parity = UART_PARITY_NONE;
  huart1.Init.Mode = UART_MODE_TX_RX;
  huart1.Init.HwFlowCtl = UART_HWCONTROL_NONE;
  huart1.Init.OverSampling = UART_OVERSAMPLING_16;
  huart1.Init.OneBitSampling = UART_ONE_BIT_SAMPLE_DISABLE;
  huart1.Init.ClockPrescaler = UART_PRESCALER_DIV1;
  huart1.AdvancedInit.AdvFeatureInit = UART_ADVFEATURE_NO_INIT;
  if (HAL_UART_Init(&huart1) != HAL_OK)
  {
    Error_Handler();
  }
  if (HAL_UARTEx_SetTxFifoThreshold(&huart1, UART_TXFIFO_THRESHOLD_1_8) != HAL_OK)
  {
    Error_Handler();
  }
  if (HAL_UARTEx_SetRxFifoThreshold(&huart1, UART_RXFIFO_THRESHOLD_1_8) != HAL_OK)
  {
    Error_Handler();
  }
  if (HAL_UARTEx_DisableFifoMode(&huart1) != HAL_OK)
  {
    Error_Handler();
  }

}

static void MX_DMA_Init(void)
{

  /* DMA controller clock enable */
  __HAL_RCC_DMA1_CLK_ENABLE();

  /* DMA interrupt init */
  /* DMA1_Stream0_IRQn interrupt configuration */
  HAL_NVIC_SetPriority(DMA1_Stream0_IRQn, 0, 0);
  HAL_NVIC_EnableIRQ(DMA1_Stream0_IRQn);

}

static void MX_GPIO_Init(void)
{
  GPIO_InitTypeDef GPIO_InitStruct = {0};

  /* GPIO Ports Clock Enable */
  __HAL_RCC_GPIOC_CLK_ENABLE();
  __HAL_RCC_GPIOA_CLK_ENABLE();
  __HAL_RCC_GPIOB_CLK_ENABLE();

  /*Configure GPIO pin Output Level */
  HAL_GPIO_WritePin(GPIOB, GPIO_PIN_2, GPIO_PIN_RESET);

  /*Configure GPIO pin Output Level */
  HAL_GPIO_WritePin(GPIOB, GPIO_PIN_4, GPIO_PIN_SET);

  /*Configure GPIO pins : PB2 PB4 */
  GPIO_InitStruct.Pin = GPIO_PIN_2|GPIO_PIN_4;
  GPIO_InitStruct.Mode = GPIO_MODE_OUTPUT_PP;
  GPIO_InitStruct.Pull = GPIO_NOPULL;
  GPIO_InitStruct.Speed = GPIO_SPEED_FREQ_LOW;
  HAL_GPIO_Init(GPIOB, &GPIO_InitStruct);

}

 /* MPU Configuration */

void MPU_Config(void)
{
  MPU_Region_InitTypeDef MPU_InitStruct = {0};

  /* Disables the MPU */
  HAL_MPU_Disable();

  /** Initializes and configures the Region and the memory to be protected
  */
  MPU_InitStruct.Enable = MPU_REGION_ENABLE;
  MPU_InitStruct.Number = MPU_REGION_NUMBER0;
  MPU_InitStruct.BaseAddress = 0x0;
  MPU_InitStruct.Size = MPU_REGION_SIZE_4GB;
  MPU_InitStruct.SubRegionDisable = 0x87;
  MPU_InitStruct.TypeExtField = MPU_TEX_LEVEL0;
  MPU_InitStruct.AccessPermission = MPU_REGION_NO_ACCESS;
  MPU_InitStruct.DisableExec = MPU_INSTRUCTION_ACCESS_DISABLE;
  MPU_InitStruct.IsShareable = MPU_ACCESS_SHAREABLE;
  MPU_InitStruct.IsCacheable = MPU_ACCESS_NOT_CACHEABLE;
  MPU_InitStruct.IsBufferable = MPU_ACCESS_NOT_BUFFERABLE;

  HAL_MPU_ConfigRegion(&MPU_InitStruct);
  /* Enables the MPU */
  HAL_MPU_Enable(MPU_PRIVILEGED_DEFAULT);

}

void Error_Handler(void)
{
  __disable_irq();
  while (1)
  {
  }
}
